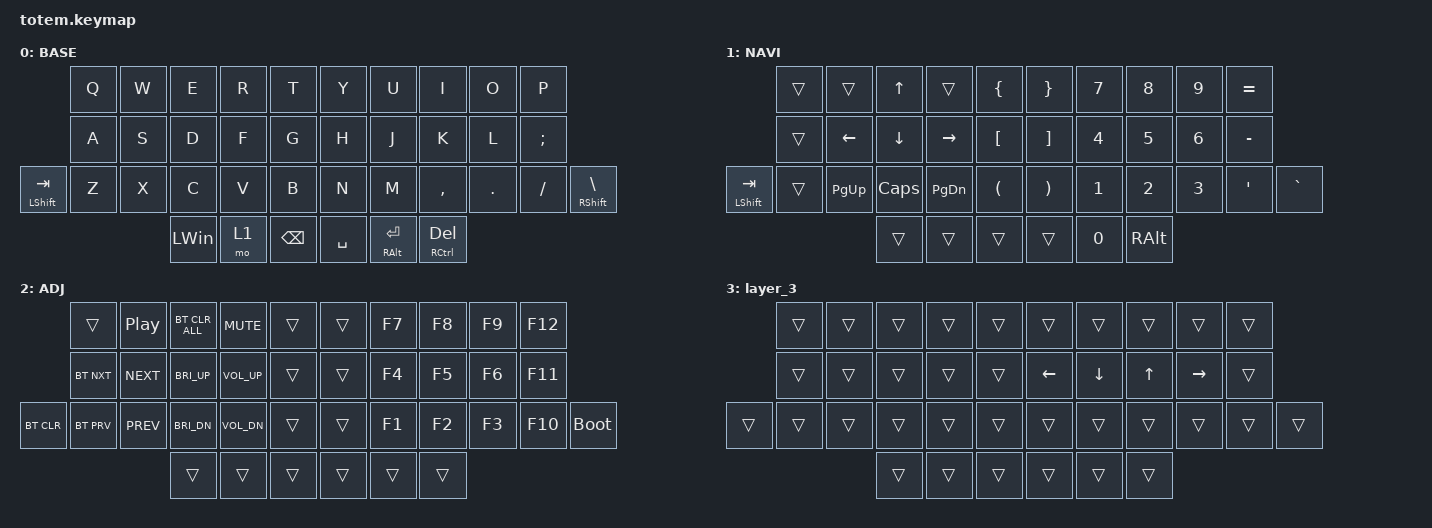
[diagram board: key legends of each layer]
//
//                                                        ▀▀▀▀▀     ▀▀▀▀▀          ▀▀█▀▀
//                                                        ▄▀▀▀▄  ▄  ▄▀▀▀▄  ▄  ▄▀▀▀▄  █  ▄▀▀▀▄
//                                                        █   █  █  █   █  █  █   █  █  █   █
//                                                         ▀▀▀   █   ▀▀▀   █   ▀▀▀   ▀   ▀▀▀
//                                                               █      ▄▄▄█▄▄▄    █   █  
//                                                               ▀      █  █  █     █▄█
//                                                             ▀▀▀▀▀    █  █  █      ▀
//                                                                      ▀  ▀  ▀
//
// ▄▄▄▄▄▄▄▄▄▄▄▄▄▄▄▄▄▄▄▄▄▄▄▄▄▄▄▄▄▄▄▄▄▄▄▄▄▄▄▄▄▄▄▄▄▄▄▄▄▄▄▄▄▄▄▄▄▄▄▄▄▄▄▄▄▄▄▄▄▄▄▄▄▄▄▄▄▄▄▄▄▄▄▄▄▄▄▄▄▄▄▄▄▄▄▄▄▄▄▄▄▄▄▄▄▄▄▄▄▄▄▄▄▄▄▄▄▄▄▄▄▄▄▄▄▄▄▄▄▄▄▄▄▄▄▄▄▄▄▄▄▄▄▄▄▄▄▄▄

#include <behaviors.dtsi>
#include <dt-bindings/zmk/bt.h>
#include <dt-bindings/zmk/keys.h>

#define BASE 0
#define NAV  1
#define ADJ  2

&mt {
    quick-tap-ms = <100>;
    global-quick-tap;
    flavor = "tap-preferred";
    tapping-term-ms = <200>;
};

/ {
    combos {
        compatible = "zmk,combos";

        combo_esc {
            timeout-ms = <50>;
            key-positions = <16 17>;
            bindings = <&kp ESC>;
        };

        homerow {
            bindings = <&kp LS(LG(SPACE))>;
            key-positions = <23 24>;
        };

        layer2 {
            bindings = <&sl 2>;
            key-positions = <16 17 18>;
        };
    };

    keymap {
        compatible = "zmk,keymap";

        // ▄▄▄▄▄▄▄▄▄▄▄▄▄▄▄▄▄▄▄▄▄▄▄▄▄▄▄▄▄▄▄▄▄▄▄▄▄▄▄▄▄▄▄▄▄▄▄▄▄▄▄▄▄▄▄▄▄▄▄▄▄▄▄▄▄▄▄▄▄▄▄▄▄▄▄▄▄▄▄▄▄▄▄▄▄▄▄▄▄▄▄▄▄▄▄▄▄▄▄▄▄▄▄▄▄▄▄▄▄▄▄▄▄▄▄▄▄▄▄▄▄▄▄▄▄▄▄▄▄▄▄▄▄▄▄▄▄▄▄▄▄▄▄▄▄▄▄▄▄

        base_layer {
            label = "BASE";
            bindings = <
                    &kp Q  &kp W  &kp E         &kp R  &kp T            &kp Y      &kp U                &kp I          &kp O    &kp P
                    &kp A  &kp S  &kp D         &kp F  &kp G            &kp H      &kp J                &kp K          &kp L    &kp SEMI
&mt LEFT_SHIFT TAB  &kp Z  &kp X  &kp C         &kp V  &kp B            &kp N      &kp M                &kp COMMA      &kp DOT  &kp FSLH  &mt RIGHT_SHIFT BSLH
                                  &kp LEFT_WIN  &mo 1  &kp BACKSPACE    &kp SPACE  &mt RIGHT_ALT ENTER  &mt RCTRL DEL
            >;
        };

        // ▄▄▄▄▄▄▄▄▄▄▄▄▄▄▄▄▄▄▄▄▄▄▄▄▄▄▄▄▄▄▄▄▄▄▄▄▄▄▄▄▄▄▄▄▄▄▄▄▄▄▄▄▄▄▄▄▄▄▄▄▄▄▄▄▄▄▄▄▄▄▄▄▄▄▄▄▄▄▄▄▄▄▄▄▄▄▄▄▄▄▄▄▄▄▄▄▄▄▄▄▄▄▄▄▄▄▄▄▄▄▄▄▄▄▄▄▄▄▄▄▄▄▄▄▄▄▄▄▄▄▄▄▄▄▄▄▄▄▄▄▄▄▄▄▄▄▄▄▄

        nav_layer {
            label = "NAVI";
            bindings = <
               &trans  &trans     &kp UP    &trans     &kp LBRC    &kp RBRC  &kp N7        &kp N8         &kp N9  &kp EQUAL
               &trans  &kp LEFT   &kp DOWN  &kp RIGHT  &kp LBKT    &kp RBKT  &kp N4        &kp N5         &kp N6  &kp MINUS
&mt LSHFT TAB  &trans  &kp PG_UP  &kp CAPS  &kp PG_DN  &kp LPAR    &kp RPAR  &kp N1        &kp N2         &kp N3  &kp SQT    &kp GRAVE
                                  &trans    &trans     &trans      &trans    &kp NUMBER_0  &kp RIGHT_ALT
            >;
        };

        // ▄▄▄▄▄▄▄▄▄▄▄▄▄▄▄▄▄▄▄▄▄▄▄▄▄▄▄▄▄▄▄▄▄▄▄▄▄▄▄▄▄▄▄▄▄▄▄▄▄▄▄▄▄▄▄▄▄▄▄▄▄▄▄▄▄▄▄▄▄▄▄▄▄▄▄▄▄▄▄▄▄▄▄▄▄▄▄▄▄▄▄▄▄▄▄▄▄▄▄▄▄▄▄▄▄▄▄▄▄▄▄▄▄▄▄▄▄▄▄▄▄▄▄▄▄▄▄▄▄▄▄▄▄▄▄▄▄▄▄▄▄▄▄▄▄▄▄▄▄

        adjust_layer {
            label = "ADJ";
            bindings = <
            &trans      &kp C_PP    &bt BT_CLR_ALL  &kp C_MUTE    &trans    &trans  &kp F7  &kp F8  &kp F9  &kp F12
            &bt BT_NXT  &kp C_NEXT  &kp C_BRI_UP    &kp C_VOL_UP  &trans    &trans  &kp F4  &kp F5  &kp F6  &kp F11
&bt BT_CLR  &bt BT_PRV  &kp C_PREV  &kp C_BRI_DN    &kp C_VOL_DN  &trans    &trans  &kp F1  &kp F2  &kp F3  &kp F10  &bootloader
                                    &trans          &trans        &trans    &trans  &trans  &trans
            >;
        };

        layer_3 {
            bindings = <
        &trans  &trans  &trans  &trans  &trans    &trans          &trans    &trans        &trans     &trans
        &trans  &trans  &trans  &trans  &trans    &kp LEFT_ARROW  &kp DOWN  &kp UP_ARROW  &kp RIGHT  &trans
&trans  &trans  &trans  &trans  &trans  &trans    &trans          &trans    &trans        &trans     &trans  &trans
                        &trans  &trans  &trans    &trans          &trans    &trans
            >;
        };
    };
};
